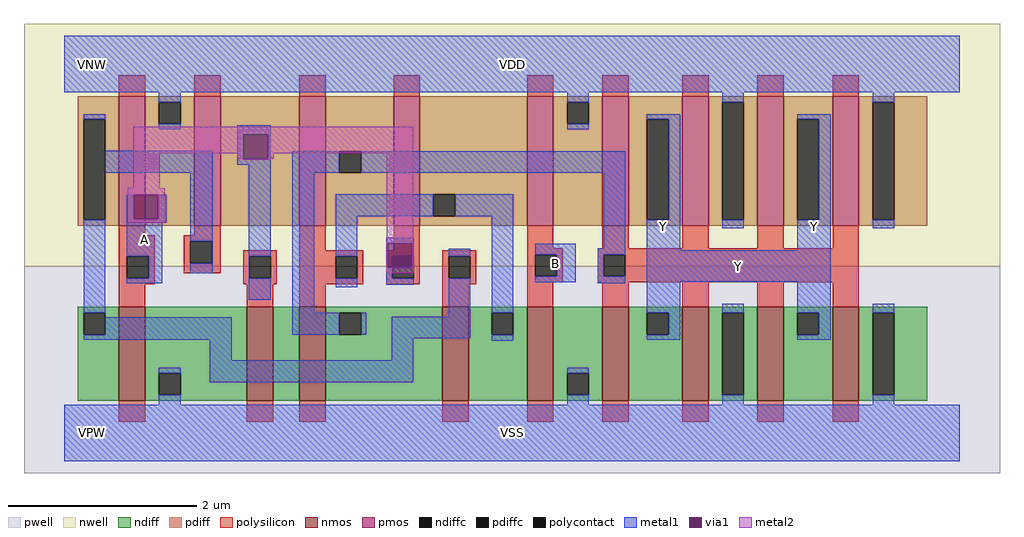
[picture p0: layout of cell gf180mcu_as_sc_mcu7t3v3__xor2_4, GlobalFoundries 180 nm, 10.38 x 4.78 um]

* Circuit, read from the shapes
.subckt gf180mcu_as_sc_mcu7t3v3__xor2_4 VDD VNW VPW VSS B A Y
XM1 VSS A n1 VPW nfet_03v3 w=1u l=0.28u
XM2 n2 A VSS VPW nfet_03v3 w=1u l=0.28u
XM3 n3 n4 n2 VPW nfet_03v3 w=1u l=0.28u
XM4 n4 n1 n3 VPW nfet_03v3 w=1u l=0.28u
XM5 VSS B n4 VPW nfet_03v3 w=1u l=0.28u
XM6 Y n3 VSS VPW nfet_03v3 w=1u l=0.28u m=4
XM7 VDD A n1 VNW pfet_03v3 w=1.38u l=0.28u
XM8 n5 n1 VDD VNW pfet_03v3 w=1.38u l=0.28u
XM9 n3 n4 n5 VNW pfet_03v3 w=1.38u l=0.28u
XM10 n4 A n3 VNW pfet_03v3 w=1.38u l=0.28u
XM11 VDD B n4 VNW pfet_03v3 w=1.38u l=0.28u
XM12 Y n3 VDD VNW pfet_03v3 w=1.38u l=0.28u m=4
.ends

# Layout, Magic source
magic
tech gf180mcuD
magscale 1 10
<< nwell >>
rect -86 354 1990 870
<< pwell >>
rect -86 -86 1990 354
<< nmos >>
rect 116 68 172 268
rect 388 68 444 268
rect 500 68 556 268
rect 804 68 860 268
rect 984 68 1040 268
rect 1144 68 1200 268
rect 1314 68 1370 268
rect 1474 68 1530 268
rect 1634 68 1690 268
<< pmos >>
rect 116 440 172 716
rect 276 440 332 716
rect 500 440 556 716
rect 700 440 756 716
rect 984 440 1040 716
rect 1144 440 1200 716
rect 1314 440 1370 716
rect 1474 440 1530 716
rect 1634 440 1690 716
<< ndiff >>
rect 28 255 116 268
rect 28 209 41 255
rect 87 209 116 255
rect 28 68 116 209
rect 172 127 388 268
rect 172 81 201 127
rect 247 81 388 127
rect 172 68 388 81
rect 444 68 500 268
rect 556 255 804 268
rect 556 209 585 255
rect 631 209 804 255
rect 556 68 804 209
rect 860 255 984 268
rect 860 209 909 255
rect 955 209 984 255
rect 860 68 984 209
rect 1040 127 1144 268
rect 1040 81 1069 127
rect 1115 81 1144 127
rect 1040 68 1144 81
rect 1200 255 1314 268
rect 1200 209 1239 255
rect 1285 209 1314 255
rect 1200 68 1314 209
rect 1370 255 1474 268
rect 1370 81 1399 255
rect 1445 81 1474 255
rect 1370 68 1474 81
rect 1530 255 1634 268
rect 1530 209 1559 255
rect 1605 209 1634 255
rect 1530 68 1634 209
rect 1690 255 1835 268
rect 1690 81 1719 255
rect 1765 81 1835 255
rect 1690 68 1835 81
<< pdiff >>
rect 28 667 116 716
rect 28 453 41 667
rect 87 453 116 667
rect 28 440 116 453
rect 172 703 276 716
rect 172 657 201 703
rect 247 657 276 703
rect 172 440 276 657
rect 332 440 500 716
rect 556 599 700 716
rect 556 553 585 599
rect 631 553 700 599
rect 556 440 700 553
rect 756 507 984 716
rect 756 461 785 507
rect 831 461 984 507
rect 756 440 984 461
rect 1040 703 1144 716
rect 1040 657 1069 703
rect 1115 657 1144 703
rect 1040 440 1144 657
rect 1200 667 1314 716
rect 1200 453 1239 667
rect 1285 453 1314 667
rect 1200 440 1314 453
rect 1370 703 1474 716
rect 1370 453 1399 703
rect 1445 453 1474 703
rect 1370 440 1474 453
rect 1530 667 1634 716
rect 1530 453 1559 667
rect 1605 453 1634 667
rect 1530 440 1634 453
rect 1690 703 1835 716
rect 1690 453 1719 703
rect 1765 453 1835 703
rect 1690 440 1835 453
<< ndiffc >>
rect 41 209 87 255
rect 201 81 247 127
rect 585 209 631 255
rect 909 209 955 255
rect 1069 81 1115 127
rect 1239 209 1285 255
rect 1399 81 1445 255
rect 1559 209 1605 255
rect 1719 81 1765 255
<< pdiffc >>
rect 41 453 87 667
rect 201 657 247 703
rect 585 553 631 599
rect 785 461 831 507
rect 1069 657 1115 703
rect 1239 453 1285 667
rect 1399 453 1445 703
rect 1559 453 1605 667
rect 1719 453 1765 703
<< polysilicon >>
rect 116 716 172 760
rect 276 716 332 760
rect 500 716 556 760
rect 700 716 756 760
rect 984 716 1040 760
rect 1144 716 1200 760
rect 1314 716 1370 760
rect 1474 716 1530 760
rect 1634 716 1690 760
rect 116 420 172 440
rect 276 420 332 440
rect 116 375 192 420
rect 116 329 133 375
rect 179 329 192 375
rect 254 407 332 420
rect 254 361 268 407
rect 314 361 332 407
rect 500 388 556 440
rect 700 388 756 440
rect 984 392 1040 440
rect 1144 392 1200 440
rect 1314 392 1370 440
rect 1474 392 1530 440
rect 1634 392 1690 440
rect 254 339 332 361
rect 380 375 452 388
rect 116 316 192 329
rect 380 329 393 375
rect 439 329 452 375
rect 380 316 452 329
rect 500 375 636 388
rect 500 329 577 375
rect 623 329 636 375
rect 500 316 636 329
rect 684 375 756 388
rect 684 329 697 375
rect 743 329 756 375
rect 684 316 756 329
rect 804 375 876 388
rect 804 329 817 375
rect 863 329 876 375
rect 804 316 876 329
rect 984 379 1060 392
rect 984 333 1001 379
rect 1047 333 1060 379
rect 984 320 1060 333
rect 1134 379 1690 392
rect 1134 333 1147 379
rect 1193 333 1690 379
rect 1134 320 1690 333
rect 116 268 172 316
rect 388 268 444 316
rect 500 268 556 316
rect 804 268 860 316
rect 984 268 1040 320
rect 1144 268 1200 320
rect 1314 268 1370 320
rect 1474 268 1530 320
rect 1634 268 1690 320
rect 116 24 172 68
rect 388 24 444 68
rect 500 24 556 68
rect 804 24 860 68
rect 984 24 1040 68
rect 1144 24 1200 68
rect 1314 24 1370 68
rect 1474 24 1530 68
rect 1634 24 1690 68
<< polycontact >>
rect 133 329 179 375
rect 268 361 314 407
rect 393 329 439 375
rect 577 329 623 375
rect 697 329 743 375
rect 817 329 863 375
rect 1001 333 1047 379
rect 1147 333 1193 379
<< metal1 >>
rect 0 724 1904 844
rect 201 703 247 724
rect 41 667 87 678
rect 201 646 247 657
rect 1069 703 1115 724
rect 1399 703 1445 724
rect 368 635 439 654
rect 1069 646 1115 657
rect 1239 667 1310 678
rect 87 553 315 600
rect 368 583 380 635
rect 433 583 439 635
rect 368 570 439 583
rect 41 255 87 453
rect 133 454 147 506
rect 200 454 217 506
rect 133 447 217 454
rect 133 375 208 447
rect 179 329 208 375
rect 268 407 315 553
rect 314 361 315 407
rect 268 339 315 361
rect 392 375 439 570
rect 133 318 208 329
rect 392 329 393 375
rect 392 283 439 329
rect 485 553 585 599
rect 631 553 1193 599
rect 485 255 531 553
rect 577 461 785 507
rect 831 461 955 507
rect 577 375 623 461
rect 577 310 623 329
rect 684 403 743 415
rect 684 351 688 403
rect 740 375 743 403
rect 684 329 697 351
rect 684 315 743 329
rect 817 375 863 391
rect 87 209 356 246
rect 485 209 585 255
rect 631 209 642 255
rect 817 247 863 329
rect 41 198 356 209
rect 309 154 356 198
rect 696 201 863 247
rect 909 255 955 461
rect 1001 379 1088 402
rect 1147 392 1193 553
rect 1047 333 1088 379
rect 1001 320 1088 333
rect 1134 379 1193 392
rect 1134 333 1147 379
rect 1134 318 1193 333
rect 1285 453 1310 667
rect 1239 388 1310 453
rect 1719 703 1765 724
rect 1399 435 1445 453
rect 1559 667 1630 678
rect 1605 453 1630 667
rect 1559 388 1630 453
rect 1719 435 1765 453
rect 1239 321 1630 388
rect 696 154 742 201
rect 909 196 955 209
rect 1239 255 1310 321
rect 1285 209 1310 255
rect 1239 198 1310 209
rect 1399 255 1445 275
rect 201 127 247 138
rect 309 107 742 154
rect 1069 127 1115 138
rect 201 60 247 81
rect 1069 60 1115 81
rect 1559 255 1630 321
rect 1605 209 1630 255
rect 1559 198 1630 209
rect 1719 255 1765 275
rect 1399 60 1445 81
rect 1719 60 1765 81
rect 0 -60 1904 60
<< via1 >>
rect 380 583 433 635
rect 147 454 200 506
rect 688 375 740 403
rect 688 351 697 375
rect 697 351 740 375
<< metal2 >>
rect 146 635 742 651
rect 146 595 380 635
rect 146 521 203 595
rect 368 583 380 595
rect 433 595 742 635
rect 433 583 445 595
rect 378 581 436 583
rect 135 520 203 521
rect 135 506 213 520
rect 135 454 147 506
rect 200 454 213 506
rect 135 447 213 454
rect 686 406 742 595
rect 684 403 743 406
rect 684 351 688 403
rect 740 351 743 403
rect 684 339 743 351
<< labels >>
flabel metal1 s 0 724 1904 844 0 FreeSans 400 0 0 0 VDD
port 1 nsew power bidirectional abutment
flabel metal1 s 0 -60 1904 60 0 FreeSans 400 0 0 0 VSS
port 4 nsew ground bidirectional abutment
flabel nwell s 10 734 110 834 0 FreeSans 400 0 0 0 VNW
port 2 nsew power bidirectional
flabel pwell s 10 -50 110 50 0 FreeSans 400 0 0 0 VPW
port 3 nsew ground bidirectional
flabel metal1 1001 320 1088 402 0 FreeSans 200 0 0 0 B
port 5 nsew signal input
flabel metal1 133 318 208 506 0 FreeSans 200 0 0 0 A
port 6 nsew signal input
flabel metal1 1239 198 1310 678 0 FreeSans 200 0 0 0 Y
port 7 nsew signal output
flabel metal1 1559 198 1630 678 0 FreeSans 200 0 0 0 Y
port 7 nsew signal output
flabel metal1 1310 321 1559 388 0 FreeSans 200 0 0 0 Y
port 7 nsew signal output
<< properties >>
string FIXED_BBOX 0 0 1904 784
string LEFclass CORE
string LEFsite unithd
string LEFsymmetry X Y
string MASKHINTS_NPLUS -16 -46 1920 354
string MASKHINTS_PPLUS -16 354 1920 830
<< end >>
